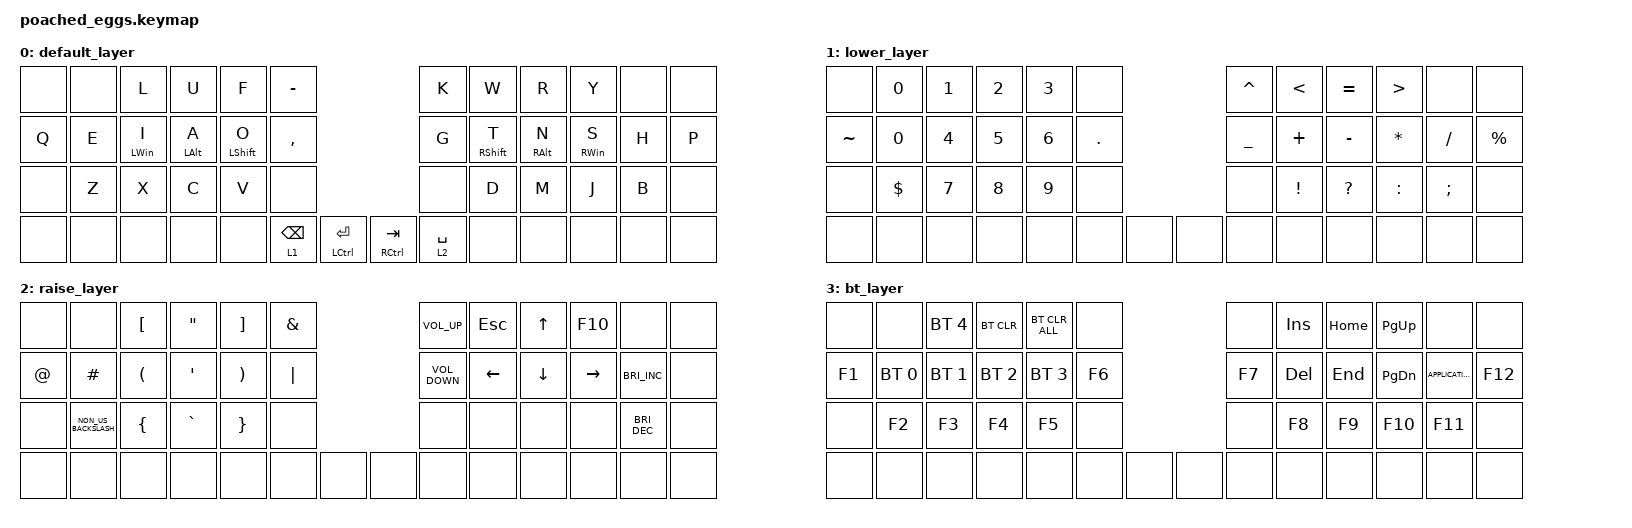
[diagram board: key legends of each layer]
#include <behaviors.dtsi>
#include <dt-bindings/zmk/bt.h>
#include <dt-bindings/zmk/keys.h>

/ {
    combos {
        compatible = "zmk,combos";

        unlock {
            bindings = <&studio_unlock>;
            key-positions = <25 26 27 28>;
        };

        kana {
            bindings = <&kp INT_KANA>;
            key-positions = <19 20>;
        };

        eisu {
            bindings = <&kp LC(LANG_ZENKAKUHANKAKU)>;
            key-positions = <16 15>;
        };

        BT {
            bindings = <&mo 3>;
            key-positions = <41 44>;
        };
    };

    keymap {
        compatible = "zmk,keymap";

        default_layer {
            bindings = <
&none  &none  &kp L           &kp U           &kp F             &kp MINUS                                                       &kp K        &kp W              &kp R            &kp Y            &none  &none
&kp Q  &kp E  &mt LEFT_WIN I  &mt LEFT_ALT A  &mt LEFT_SHIFT O  &kp COMMA                                                       &kp G        &mt RIGHT_SHIFT T  &mt RIGHT_ALT N  &mt RIGHT_WIN S  &kp H  &kp P
&none  &kp Z  &kp X           &kp C           &kp V             &none                                                           &none        &kp D              &kp M            &kp J            &kp B  &none
&none  &none  &none           &none           &none             &lt 1 BACKSPACE  &mt LEFT_CONTROL ENTER  &mt RIGHT_CONTROL TAB  &lt 2 SPACE  &none              &none            &none            &none  &none
            >;
        };

        lower_layer {
            bindings = <
&none      &kp NUMBER_0  &kp NUMBER_1  &kp NUMBER_2  &kp NUMBER_3  &none                     &kp CARET       &kp LESS_THAN    &kp EQUAL     &kp GREATER_THAN  &none          &none
&kp TILDE  &kp NUMBER_0  &kp NUMBER_4  &kp NUMBER_5  &kp NUMBER_6  &kp PERIOD                &kp UNDERSCORE  &kp PLUS         &kp MINUS     &kp ASTERISK      &kp SLASH      &kp PERCENT
&none      &kp DOLLAR    &kp NUMBER_7  &kp NUMBER_8  &kp NUMBER_9  &none                     &none           &kp EXCLAMATION  &kp QUESTION  &kp COLON         &kp SEMICOLON  &none
&none      &none         &none         &none         &none         &none       &none  &none  &none           &none            &none         &none             &none          &none
            >;
        };

        raise_layer {
            bindings = <
&none        &none                 &kp LEFT_BRACKET      &kp DOUBLE_QUOTES  &kp RIGHT_BRACKET      &kp AMPERSAND                &kp C_VOLUME_UP    &kp ESCAPE  &kp UP_ARROW  &kp F10          &none                 &none
&kp AT_SIGN  &kp HASH              &kp LEFT_PARENTHESIS  &kp SINGLE_QUOTE   &kp RIGHT_PARENTHESIS  &kp PIPE                     &kp C_VOLUME_DOWN  &kp LEFT    &kp DOWN      &kp RIGHT_ARROW  &kp C_BRIGHTNESS_INC  &none
&none        &kp NON_US_BACKSLASH  &kp LEFT_BRACE        &kp GRAVE          &kp RIGHT_BRACE        &none                        &none              &none       &none         &none            &kp C_BRIGHTNESS_DEC  &none
&none        &none                 &none                 &none              &none                  &none          &none  &none  &none              &none       &none         &none            &none                 &none
            >;
        };

        bt_layer {
            bindings = <
&none   &none         &bt BT_SEL 4  &bt BT_CLR    &bt BT_CLR_ALL  &none                 &none   &kp INS     &kp HOME  &kp PAGE_UP    &none              &none
&kp F1  &bt BT_SEL 0  &bt BT_SEL 1  &bt BT_SEL 2  &bt BT_SEL 3    &kp F6                &kp F7  &kp DELETE  &kp END   &kp PAGE_DOWN  &kp K_APPLICATION  &kp F12
&none   &kp F2        &kp F3        &kp F4        &kp F5          &none                 &none   &kp F8      &kp F9    &kp F10        &kp F11            &none
&none   &none         &none         &none         &none           &none   &none  &none  &none   &none       &none     &none          &none              &none
            >;
        };
    };
};
